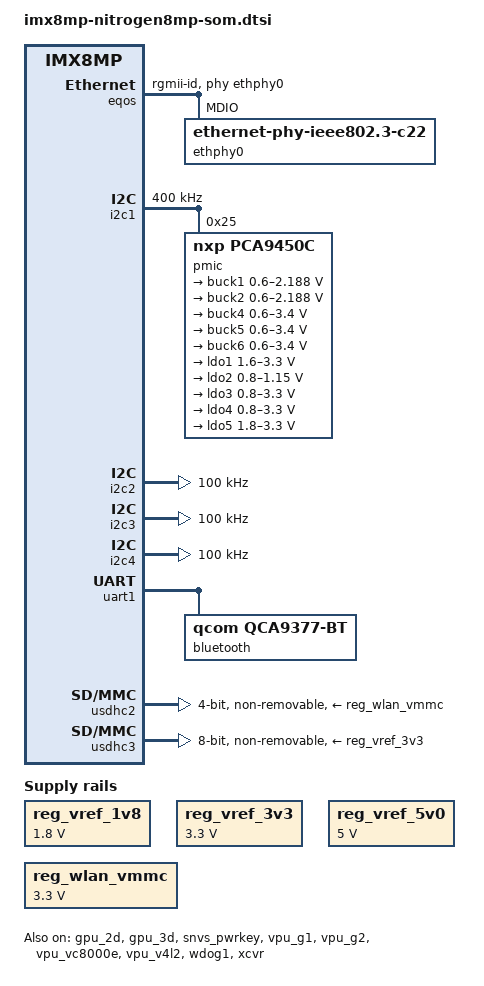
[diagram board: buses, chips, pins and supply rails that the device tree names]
// SPDX-License-Identifier: (GPL-2.0+ OR MIT)
/*
 * Copyright 2020 Boundary Devices
 */

/dts-v1/;

#include <dt-bindings/usb/pd.h>
#include "imx8mp.dtsi"

&iomuxc {
	pinctrl_eqos: eqosgrp {
		fsl,pins = <
			MX8MP_IOMUXC_ENET_MDC__ENET_QOS_MDC		0x20
			MX8MP_IOMUXC_ENET_MDIO__ENET_QOS_MDIO		0xa0
			MX8MP_IOMUXC_ENET_TX_CTL__ENET_QOS_RGMII_TX_CTL	0x1f
			MX8MP_IOMUXC_ENET_TXC__CCM_ENET_QOS_CLOCK_GENERATE_TX_CLK	0x1f
			MX8MP_IOMUXC_ENET_TD0__ENET_QOS_RGMII_TD0		0x1f
			MX8MP_IOMUXC_ENET_TD1__ENET_QOS_RGMII_TD1		0x1f
			MX8MP_IOMUXC_ENET_TD2__ENET_QOS_RGMII_TD2		0x1f
			MX8MP_IOMUXC_ENET_TD3__ENET_QOS_RGMII_TD3		0x1f

			MX8MP_IOMUXC_ENET_RX_CTL__ENET_QOS_RGMII_RX_CTL	0x91
			MX8MP_IOMUXC_ENET_RXC__CCM_ENET_QOS_CLOCK_GENERATE_RX_CLK	0x91
			MX8MP_IOMUXC_ENET_RD0__ENET_QOS_RGMII_RD0	0x91
			MX8MP_IOMUXC_ENET_RD1__ENET_QOS_RGMII_RD1	0x91
			MX8MP_IOMUXC_ENET_RD2__ENET_QOS_RGMII_RD2	0x91
			MX8MP_IOMUXC_ENET_RD3__ENET_QOS_RGMII_RD3	0x91
#define GP_EQOS_RESET	<&gpio3 16 GPIO_ACTIVE_LOW>
			MX8MP_IOMUXC_NAND_READY_B__GPIO3_IO16		0x100
#ifdef REV20
#define GPIRQ_EQOS_PHY	<&gpio3 14 IRQ_TYPE_LEVEL_LOW>
			MX8MP_IOMUXC_NAND_DQS__GPIO3_IO14		0x10
#else
#define GPIRQ_EQOS_PHY	<&gpio3 2 IRQ_TYPE_LEVEL_LOW>
			MX8MP_IOMUXC_NAND_CE1_B__GPIO3_IO02		0x10
#endif
		>;
	};

	pinctrl_i2c1: i2c1grp {
		fsl,pins = <
			MX8MP_IOMUXC_I2C1_SCL__I2C1_SCL		0x400001c3
			MX8MP_IOMUXC_I2C1_SDA__I2C1_SDA		0x400001c3
		>;
	};

	pinctrl_i2c1_1: i2c1-1grp {
		fsl,pins = <
#define GP_I2C1_SCL	<&gpio5 14 GPIO_OPEN_DRAIN>
			MX8MP_IOMUXC_I2C1_SCL__GPIO5_IO14        	0x1c3
#define GP_I2C1_SDA	<&gpio5 15 GPIO_OPEN_DRAIN>
			MX8MP_IOMUXC_I2C1_SDA__GPIO5_IO15        	0x1c3
		>;
	};

	pinctrl_i2c2: i2c2grp {
		fsl,pins = <
			MX8MP_IOMUXC_I2C2_SCL__I2C2_SCL			0x400001c3
			MX8MP_IOMUXC_I2C2_SDA__I2C2_SDA			0x400001c3
		>;
	};

	pinctrl_i2c2_1: i2c2-1grp {
		fsl,pins = <
#define GP_I2C2_SCL	<&gpio5 16 GPIO_OPEN_DRAIN>
			MX8MP_IOMUXC_I2C2_SCL__GPIO5_IO16        	0x1c3
#define GP_I2C2_SDA	<&gpio5 17 GPIO_OPEN_DRAIN>
			MX8MP_IOMUXC_I2C2_SDA__GPIO5_IO17        	0x1c3
		>;
	};

	pinctrl_i2c3: i2c3grp {
		fsl,pins = <
			MX8MP_IOMUXC_I2C3_SCL__I2C3_SCL			0x400001c3
			MX8MP_IOMUXC_I2C3_SDA__I2C3_SDA			0x400001c3
		>;
	};

	pinctrl_i2c3_1: i2c3-1grp {
		fsl,pins = <
#define GP_I2C3_SCL	<&gpio5 18 GPIO_OPEN_DRAIN>
			MX8MP_IOMUXC_I2C3_SCL__GPIO5_IO18        	0x1c3
#define GP_I2C3_SDA	<&gpio5 19 GPIO_OPEN_DRAIN>
			MX8MP_IOMUXC_I2C3_SDA__GPIO5_IO19        	0x1c3
		>;
	};

	pinctrl_i2c4: i2c4grp {
		fsl,pins = <
			MX8MP_IOMUXC_I2C4_SCL__I2C4_SCL			0x400001c3
			MX8MP_IOMUXC_I2C4_SDA__I2C4_SDA			0x400001c3
		>;
	};

	pinctrl_i2c4_1: i2c4-1grp {
		fsl,pins = <
#define GP_I2C4_SCL	<&gpio5 20 GPIO_OPEN_DRAIN>
			MX8MP_IOMUXC_I2C4_SCL__GPIO5_IO20        	0x1c3
#define GP_I2C4_SDA	<&gpio5 21 GPIO_OPEN_DRAIN>
			MX8MP_IOMUXC_I2C4_SDA__GPIO5_IO21        	0x1c3
		>;
	};

	pinctrl_pmic: pmicirq {
		fsl,pins = <
#define GPIRQ_PMIC	<&gpio3 0 IRQ_TYPE_LEVEL_LOW>
			MX8MP_IOMUXC_NAND_ALE__GPIO3_IO00	0x41
		>;
	};

	pinctrl_reg_wlan_vmmc: reg-wlan-vmmcgrp {
		fsl,pins = <
#define GP_REG_WLAN_VMMC	<&gpio2 19 GPIO_ACTIVE_HIGH>
			MX8MP_IOMUXC_SD2_RESET_B__GPIO2_IO19	0x16
		>;
	};

	pinctrl_uart1: uart1grp {
		fsl,pins = <
			MX8MP_IOMUXC_UART1_RXD__UART1_DCE_RX	0x140
			MX8MP_IOMUXC_UART1_TXD__UART1_DCE_TX	0x140
			MX8MP_IOMUXC_UART3_RXD__UART1_DCE_CTS	0x140
			MX8MP_IOMUXC_UART3_TXD__UART1_DCE_RTS	0x140
#define GP_BT_ENABLE	<&gpio3 9 GPIO_ACTIVE_HIGH>
			MX8MP_IOMUXC_NAND_DATA03__GPIO3_IO09	0x119
		>;
	};

	pinctrl_usdhc2: usdhc2grp {
		fsl,pins = <
			MX8MP_IOMUXC_SD2_CLK__USDHC2_CLK	0x190
			MX8MP_IOMUXC_SD2_CMD__USDHC2_CMD	0x1d0
			MX8MP_IOMUXC_SD2_DATA0__USDHC2_DATA0	0x1d0
			MX8MP_IOMUXC_SD2_DATA1__USDHC2_DATA1	0x1d0
			MX8MP_IOMUXC_SD2_DATA2__USDHC2_DATA2	0x1d0
			MX8MP_IOMUXC_SD2_DATA3__USDHC2_DATA3	0x1d0
		>;
	};

	pinctrl_usdhc2_100mhz: usdhc2grp100mhz {
		fsl,pins = <
			MX8MP_IOMUXC_SD2_CLK__USDHC2_CLK	0x194
			MX8MP_IOMUXC_SD2_CMD__USDHC2_CMD	0x1d4
			MX8MP_IOMUXC_SD2_DATA0__USDHC2_DATA0	0x1d4
			MX8MP_IOMUXC_SD2_DATA1__USDHC2_DATA1	0x1d4
			MX8MP_IOMUXC_SD2_DATA2__USDHC2_DATA2	0x1d4
			MX8MP_IOMUXC_SD2_DATA3__USDHC2_DATA3	0x1d4
		>;
	};

	pinctrl_usdhc2_200mhz: usdhc2grp200mhz {
		fsl,pins = <
			MX8MP_IOMUXC_SD2_CLK__USDHC2_CLK	0x196
			MX8MP_IOMUXC_SD2_CMD__USDHC2_CMD	0x1d6
			MX8MP_IOMUXC_SD2_DATA0__USDHC2_DATA0	0x1d6
			MX8MP_IOMUXC_SD2_DATA1__USDHC2_DATA1	0x1d6
			MX8MP_IOMUXC_SD2_DATA2__USDHC2_DATA2	0x1d6
			MX8MP_IOMUXC_SD2_DATA3__USDHC2_DATA3	0x1d6
		>;
	};

	pinctrl_usdhc3: usdhc3grp {
		fsl,pins = <
			MX8MP_IOMUXC_NAND_WE_B__USDHC3_CLK	0x190
			MX8MP_IOMUXC_NAND_WP_B__USDHC3_CMD	0x1d0
			MX8MP_IOMUXC_NAND_DATA04__USDHC3_DATA0	0x1d0
			MX8MP_IOMUXC_NAND_DATA05__USDHC3_DATA1	0x1d0
			MX8MP_IOMUXC_NAND_DATA06__USDHC3_DATA2	0x1d0
			MX8MP_IOMUXC_NAND_DATA07__USDHC3_DATA3	0x1d0
			MX8MP_IOMUXC_NAND_RE_B__USDHC3_DATA4	0x1d0
			MX8MP_IOMUXC_NAND_CE2_B__USDHC3_DATA5	0x1d0
			MX8MP_IOMUXC_NAND_CE3_B__USDHC3_DATA6	0x1d0
			MX8MP_IOMUXC_NAND_CLE__USDHC3_DATA7	0x1d0
#ifdef REV20
			MX8MP_IOMUXC_NAND_CE1_B__USDHC3_STROBE	0x1d0
#endif
#define GP_EMMC_RESET	<&gpio3 1 IRQ_TYPE_LEVEL_LOW>
			MX8MP_IOMUXC_NAND_CE0_B__GPIO3_IO01	0x140
		>;
	};

	pinctrl_usdhc3_100mhz: usdhc3grp-100mhz {
		fsl,pins = <
			MX8MP_IOMUXC_NAND_WE_B__USDHC3_CLK	0x194
			MX8MP_IOMUXC_NAND_WP_B__USDHC3_CMD	0x1d4
			MX8MP_IOMUXC_NAND_DATA04__USDHC3_DATA0	0x1d4
			MX8MP_IOMUXC_NAND_DATA05__USDHC3_DATA1	0x1d4
			MX8MP_IOMUXC_NAND_DATA06__USDHC3_DATA2	0x1d4
			MX8MP_IOMUXC_NAND_DATA07__USDHC3_DATA3	0x1d4
			MX8MP_IOMUXC_NAND_RE_B__USDHC3_DATA4	0x1d4
			MX8MP_IOMUXC_NAND_CE2_B__USDHC3_DATA5	0x1d4
			MX8MP_IOMUXC_NAND_CE3_B__USDHC3_DATA6	0x1d4
			MX8MP_IOMUXC_NAND_CLE__USDHC3_DATA7	0x1d4
#ifdef REV20
			MX8MP_IOMUXC_NAND_CE1_B__USDHC3_STROBE	0x1d4
#endif
		>;
	};

	pinctrl_usdhc3_200mhz: usdhc3grp-200mhz {
		fsl,pins = <
			MX8MP_IOMUXC_NAND_WE_B__USDHC3_CLK	0x196
			MX8MP_IOMUXC_NAND_WP_B__USDHC3_CMD	0x1d6
			MX8MP_IOMUXC_NAND_DATA04__USDHC3_DATA0	0x1d6
			MX8MP_IOMUXC_NAND_DATA05__USDHC3_DATA1	0x1d6
			MX8MP_IOMUXC_NAND_DATA06__USDHC3_DATA2	0x1d6
			MX8MP_IOMUXC_NAND_DATA07__USDHC3_DATA3	0x1d6
			MX8MP_IOMUXC_NAND_RE_B__USDHC3_DATA4	0x1d6
			MX8MP_IOMUXC_NAND_CE2_B__USDHC3_DATA5	0x1d6
			MX8MP_IOMUXC_NAND_CE3_B__USDHC3_DATA6	0x1d6
			MX8MP_IOMUXC_NAND_CLE__USDHC3_DATA7	0x1d6
#ifdef REV20
			MX8MP_IOMUXC_NAND_CE1_B__USDHC3_STROBE	0x1d6
#endif
		>;
	};

	pinctrl_wdog: wdoggrp {
		fsl,pins = <
			MX8MP_IOMUXC_GPIO1_IO02__WDOG1_WDOG_B	0xc6
		>;
	};
};

/ {
	aliases {
		ethernet0 = &eqos;
		ethernet1 = &fec;
	};

	reg_vref_1v8: regulator-vref-1v8 {
		compatible = "regulator-fixed";
		regulator-name = "vref-1v8";
		regulator-min-microvolt = <1800000>;
		regulator-max-microvolt = <1800000>;
	};

	reg_vref_3v3: regulator-vref-3v3 {
		compatible = "regulator-fixed";
		regulator-name = "vref-3v3";
		regulator-min-microvolt = <3300000>;
		regulator-max-microvolt = <3300000>;
	};

	reg_vref_5v0: regulator-vref-5v0 {
		compatible = "regulator-fixed";
		regulator-name = "vref-5v0";
		regulator-min-microvolt = <5000000>;
		regulator-max-microvolt = <5000000>;
	};

	reg_wlan_vmmc: regulator-wlan-vmmc {
		compatible = "regulator-fixed";
		pinctrl-names = "default";
		pinctrl-0 = <&pinctrl_reg_wlan_vmmc>;
		regulator-name = "reg_wlan_vmmc";
		regulator-min-microvolt = <3300000>;
		regulator-max-microvolt = <3300000>;
		gpio = GP_REG_WLAN_VMMC;
		startup-delay-us = <70000>;
		enable-active-high;
	};

	reserved-memory {
		linux,cma {
			size = <0 0x20000000>;
		};
	};

	sound-xcvr {
		compatible = "fsl,imx-audio-xcvr";
		model = "imx-audio-xcvr";
		cpu-dai = <&xcvr>;
	};
};

&A53_0 {
	cpu-supply = <&buck2>;
};

&A53_1 {
	cpu-supply = <&buck2>;
};

&A53_2 {
	cpu-supply = <&buck2>;
};

&A53_3 {
	cpu-supply = <&buck2>;
};

&clk {
	init-on-array = <IMX8MP_CLK_HSIO_ROOT>;
};

&eqos {
	pinctrl-names = "default";
	pinctrl-0 = <&pinctrl_eqos>;
	phy-mode = "rgmii-id";
	phy-handle = <&ethphy0>;
	status = "okay";

	mdio {
		compatible = "snps,dwmac-mdio";
		#address-cells = <1>;
		#size-cells = <0>;

		ethphy0: ethernet-phy {
			compatible = "ethernet-phy-ieee802.3-c22";
			at803x,hib-disabled;
			eee-broken-1000t;
			interrupts-extended = GPIRQ_EQOS_PHY;
#if 0
			reset-gpios = GP_EQOS_RESET;
#endif
			reg-mask = <0x90>;
		};
	};
};

&gpu_2d {
	status = "okay";
};

&gpu_3d {
	status = "okay";
};

&i2c1 {
	clock-frequency = <400000>;
	pinctrl-names = "default", "gpio";
	pinctrl-0 = <&pinctrl_i2c1>;
	pinctrl-1 = <&pinctrl_i2c1_1>;
	scl-gpios = GP_I2C1_SCL;
	sda-gpios = GP_I2C1_SDA;
	status = "okay";

	pmic: pca9450@25 {
		reg = <0x25>;
		compatible = "nxp,pca9450c";
		/* PMIC PCA9450 PMIC_nINT GPIO1_IO3 */
		pinctrl-0 = <&pinctrl_pmic>;
		interrupts-extended = GPIRQ_PMIC;

		regulators {
			buck1: BUCK1 {
				regulator-name = "BUCK1";
				regulator-min-microvolt = <600000>;
				regulator-max-microvolt = <2187500>;
				regulator-boot-on;
				regulator-always-on;
				regulator-ramp-delay = <3125>;
			};

			buck2: BUCK2 {
				regulator-name = "BUCK2";
				regulator-min-microvolt = <600000>;
				regulator-max-microvolt = <2187500>;
				regulator-limit-microvolt = <1025000>;
				regulator-boot-on;
				regulator-always-on;
				regulator-ramp-delay = <3125>;
				nxp,dvs-run-voltage = <950000>;
				nxp,dvs-standby-voltage = <850000>;
			};

			buck4: BUCK4 {
				regulator-name = "BUCK4";
				regulator-min-microvolt = <600000>;
				regulator-max-microvolt = <3400000>;
				regulator-boot-on;
				regulator-always-on;
			};

			buck5: BUCK5 {
				regulator-name = "BUCK5";
				regulator-min-microvolt = <600000>;
				regulator-max-microvolt = <3400000>;
				regulator-boot-on;
				regulator-always-on;
			};

			buck6: BUCK6 {
				regulator-name = "BUCK6";
				regulator-min-microvolt = <600000>;
				regulator-max-microvolt = <3400000>;
				regulator-boot-on;
				regulator-always-on;
			};

			ldo1: LDO1 {
				regulator-name = "LDO1";
				regulator-min-microvolt = <1600000>;
				regulator-max-microvolt = <3300000>;
				regulator-boot-on;
				regulator-always-on;
			};

			ldo2: LDO2 {
				regulator-name = "LDO2";
				regulator-min-microvolt = <800000>;
				regulator-max-microvolt = <1150000>;
				regulator-boot-on;
				regulator-always-on;
			};

			ldo3: LDO3 {
				regulator-name = "LDO3";
				regulator-min-microvolt = <800000>;
				regulator-max-microvolt = <3300000>;
				regulator-boot-on;
				regulator-always-on;
			};

			ldo4: LDO4 {
				regulator-name = "LDO4";
				regulator-min-microvolt = <800000>;
				regulator-max-microvolt = <3300000>;
				regulator-boot-on;
				regulator-always-on;
			};

			ldo5: LDO5 {
				regulator-name = "LDO5";
				regulator-min-microvolt = <1800000>;
				regulator-max-microvolt = <3300000>;
				regulator-boot-on;
				regulator-always-on;
			};
		};
	};
};

&i2c2 {
	clock-frequency = <100000>;
	pinctrl-names = "default", "gpio";
	pinctrl-0 = <&pinctrl_i2c2>;
	pinctrl-1 = <&pinctrl_i2c2_1>;
	scl-gpios = GP_I2C2_SCL;
	sda-gpios = GP_I2C2_SDA;
	status = "okay";
};

&i2c3 {
	clock-frequency = <100000>;
	pinctrl-names = "default", "gpio";
	pinctrl-0 = <&pinctrl_i2c3>;
	pinctrl-1 = <&pinctrl_i2c3_1>;
	scl-gpios = GP_I2C3_SCL;
	sda-gpios = GP_I2C3_SDA;
	status = "okay";
};

&i2c4 {
	clock-frequency = <100000>;
	pinctrl-names = "default", "gpio";
	pinctrl-0 = <&pinctrl_i2c4>;
	pinctrl-1 = <&pinctrl_i2c4_1>;
	scl-gpios = GP_I2C4_SCL;
	sda-gpios = GP_I2C4_SDA;
	status = "okay";
};

&isi_0 {
	status = "disabled";

	cap_device {
		status = "okay";
	};

	m2m_device {
		status = "okay";
	};
};

&isi_1 {
	status = "disabled";

	cap_device {
		status = "okay";
	};
};

&lcdif1 {
	status = "disabled";
};

&lcdif2 {
	status = "disabled";
};

&lcdif3 {
	status = "disabled";
};

&sdma2 {
	status = "okay";
};

&snvs_pwrkey {
	status = "okay";
};

&uart1 { /* BT */
	pinctrl-names = "default";
	pinctrl-0 = <&pinctrl_uart1>;
	assigned-clocks = <&clk IMX8MP_CLK_UART1>;
	assigned-clock-parents = <&clk IMX8MP_SYS_PLL1_80M>;
	uart-has-rtscts;
	status = "okay";

	bluetooth {
		compatible = "qcom,qca9377-bt";
		enable-gpios = GP_BT_ENABLE;
		max-speed = <3000000>;
	};
};

&usdhc2 {
	bus-width = <4>;
	fsl,sdio-async-interrupt-enabled;
	keep-power-in-suspend;
	no-sd-uhs-sdr104;
	non-removable;
	pinctrl-names = "default", "state_100mhz", "state_200mhz";
	pinctrl-0 = <&pinctrl_usdhc2>;
	pinctrl-1 = <&pinctrl_usdhc2_100mhz>;
	pinctrl-2 = <&pinctrl_usdhc2_200mhz>;
	pm-ignore-notify;
	status = "okay";
	vmmc-supply = <&reg_wlan_vmmc>;
	vqmmc-1-8-v;
	vqmmc-supply = <&reg_vref_1v8>;
};

&usdhc3 {
	bus-width = <8>;
#ifndef REV20
	no-mmc-hs400;
#endif
	non-removable;
	pinctrl-names = "default", "state_100mhz", "state_200mhz";
	pinctrl-0 = <&pinctrl_usdhc3>;
	pinctrl-1 = <&pinctrl_usdhc3_100mhz>;
	pinctrl-2 = <&pinctrl_usdhc3_200mhz>;
	status = "okay";
	vmmc-supply = <&reg_vref_3v3>;
	vqmmc-1-8-v;
	vqmmc-supply = <&reg_vref_1v8>;
};

&vpu_g1 {
	status = "okay";
};

&vpu_g2 {
	status = "okay";
};

&vpu_vc8000e {
	status = "okay";
};

&vpu_v4l2 {
	status = "okay";
};

&wdog1 {
	pinctrl-names = "default";
	pinctrl-0 = <&pinctrl_wdog>;
	fsl,ext-reset-output;
	status = "okay";
};

&xcvr {
	#sound-dai-cells = <0>;
	status = "okay";
};
